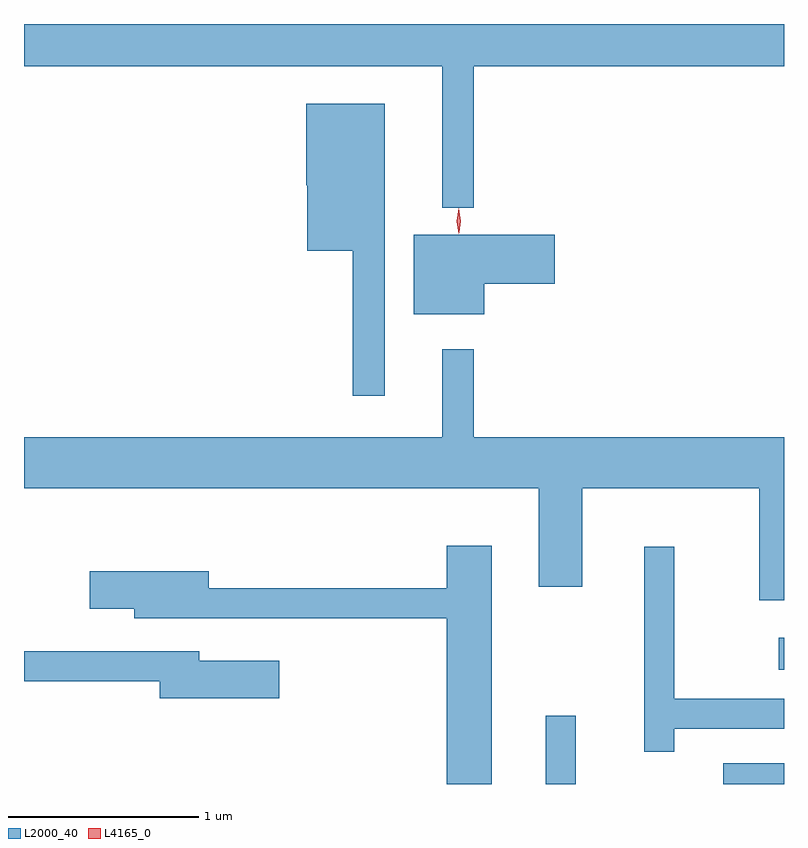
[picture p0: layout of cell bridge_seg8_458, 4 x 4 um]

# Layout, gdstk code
import gdstk
lib = gdstk.Library(unit=1e-6, precision=1e-09)
def R(c, l, rs):  # rectangles x0, y0, x1, y1
    for r in rs: c.add(gdstk.rectangle(r[:2], r[2:], *l))
def P(c, l, *ps):  # polygons
    for p in ps: c.add(gdstk.Polygon(p, *l))
L2000_40 = (2000, 40)
L4165_0 = (4165, 0)

bridge_seg8_458 = lib.new_cell('bridge_seg8_458')
R(bridge_seg8_458, L2000_40, [(601.726,1883.699,601.884,1884.058), (602.661,1883.699,602.981,1883.809), (602.953,1884.301,602.981,1884.469)])
P(bridge_seg8_458, L2000_40, [(601.349,1887.476),(602.981,1887.476),(602.981,1887.699),(598.981,1887.699),(598.981,1887.476),(601.181,1887.476),(601.181,1886.733),(601.349,1886.733)],
  [(600.879,1887.279),(600.466,1887.279),(600.466,1886.85),(600.471,1886.85),(600.471,1886.506),(600.711,1886.506),(600.711,1885.743),(600.879,1885.743)],
  [(601.404,1886.331),(601.774,1886.331),(601.774,1886.589),(601.031,1886.589),(601.031,1886.171),(601.404,1886.171)],
  [(602.981,1885.524),(601.349,1885.524),(601.349,1885.988),(601.181,1885.988),(601.181,1885.524),(598.981,1885.524),(598.981,1885.256),(601.691,1885.256),(601.691,1884.736),(601.919,1884.736),(601.919,1885.256),(602.851,1885.256),(602.851,1884.666),(602.981,1884.666)],
  [(601.444,1884.954),(601.206,1884.954),(601.206,1884.729),(599.954,1884.729),(599.954,1884.819),(599.326,1884.819),(599.326,1884.621),(599.561,1884.621),(599.561,1884.571),(601.206,1884.571),(601.206,1883.699),(601.444,1883.699)],
  [(602.404,1883.991),(602.981,1883.991),(602.981,1884.149),(602.404,1884.149),(602.404,1884.948),(602.246,1884.948),(602.246,1883.868),(602.404,1883.868)],
  [(600.324,1884.349),(599.904,1884.349),(599.904,1884.399),(598.981,1884.399),(598.981,1884.241),(599.696,1884.241),(599.696,1884.151),(600.324,1884.151)])
P(bridge_seg8_458, L4165_0, [(601.269,1886.594),(601.259,1886.662),(601.268,1886.73),(601.269,1886.73),(601.269,1886.73),(601.279,1886.662),(601.27,1886.594),(601.27,1886.594)],
  [(601.27,1886.6),(601.27,1886.601),(601.26,1886.664),(601.268,1886.726),(601.269,1886.727),(601.269,1886.726),(601.279,1886.664),(601.271,1886.601)])

lib.write_gds('bridge_seg8_458.gds')
